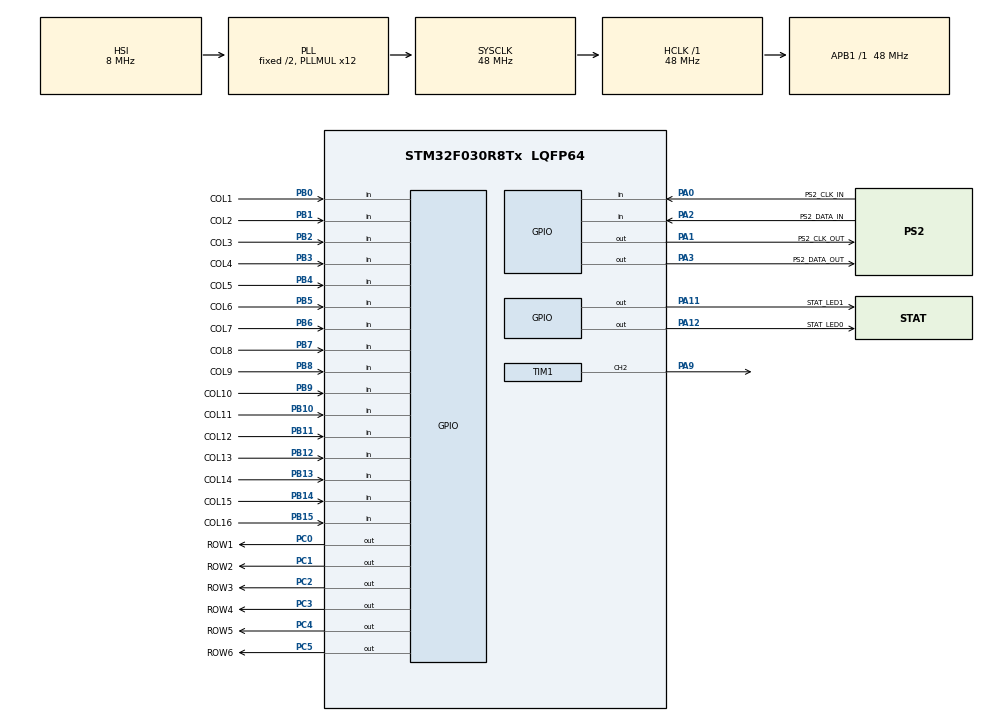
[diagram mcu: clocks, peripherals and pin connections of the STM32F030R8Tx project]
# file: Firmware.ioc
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Dma.Request0=TIM1_CH2
Dma.TIM1_CH2.0.Direction=DMA_MEMORY_TO_PERIPH
Dma.TIM1_CH2.0.Instance=DMA1_Channel3
Dma.TIM1_CH2.0.MemDataAlignment=DMA_MDATAALIGN_WORD
Dma.TIM1_CH2.0.MemInc=DMA_MINC_ENABLE
Dma.TIM1_CH2.0.Mode=DMA_CIRCULAR
Dma.TIM1_CH2.0.PeriphDataAlignment=DMA_PDATAALIGN_WORD
Dma.TIM1_CH2.0.PeriphInc=DMA_PINC_DISABLE
Dma.TIM1_CH2.0.Priority=DMA_PRIORITY_VERY_HIGH
Mcu.Family=STM32F0
Mcu.Name=STM32F030R8Tx
Mcu.Package=LQFP64
NVIC.DMA1_Channel2_3_IRQn=true\:0\:0\:false\:false\:true\:false\:true\:true
NVIC.TIM16_IRQn=true\:0\:0\:false\:false\:true\:true\:true\:true
NVIC.TIM3_IRQn=true\:0\:0\:false\:false\:true\:true\:true\:true
PA0.GPIO_Label=PS2_CLK_IN
PA0.Signal=GPIO_Input
PA1.GPIO_Label=PS2_CLK_OUT
PA1.GPIO_Speed=GPIO_SPEED_FREQ_MEDIUM
PA1.PinState=GPIO_PIN_SET
PA1.Signal=GPIO_Output
PA11.GPIO_Label=STAT_LED1
PA11.PinState=GPIO_PIN_SET
PA11.Signal=GPIO_Output
PA12.GPIO_Label=STAT_LED0
PA12.PinState=GPIO_PIN_SET
PA12.Signal=GPIO_Output
PA2.GPIO_Label=PS2_DATA_IN
PA2.Signal=GPIO_Input
PA3.GPIO_Label=PS2_DATA_OUT
PA3.GPIO_Speed=GPIO_SPEED_FREQ_MEDIUM
PA3.PinState=GPIO_PIN_SET
PA3.Signal=GPIO_Output
PA9.GPIO_PuPd=GPIO_PULLDOWN
PA9.Signal=S_TIM1_CH2
PB0.GPIO_Label=COL1
PB0.GPIO_PuPd=GPIO_PULLUP
PB0.Signal=GPIO_Input
PB1.GPIO_Label=COL2
PB1.GPIO_PuPd=GPIO_PULLUP
PB1.Signal=GPIO_Input
PB10.GPIO_Label=COL11
PB10.GPIO_PuPd=GPIO_PULLUP
PB10.Signal=GPIO_Input
PB11.GPIO_Label=COL12
PB11.GPIO_PuPd=GPIO_PULLUP
PB11.Signal=GPIO_Input
PB12.GPIO_Label=COL13
PB12.GPIO_PuPd=GPIO_PULLUP
PB12.Signal=GPIO_Input
PB13.GPIO_Label=COL14
PB13.GPIO_PuPd=GPIO_PULLUP
PB13.Signal=GPIO_Input
PB14.GPIO_Label=COL15
PB14.GPIO_PuPd=GPIO_PULLUP
PB14.Signal=GPIO_Input
PB15.GPIO_Label=COL16
PB15.GPIO_PuPd=GPIO_PULLUP
PB15.Signal=GPIO_Input
PB2.GPIO_Label=COL3
PB2.GPIO_PuPd=GPIO_PULLUP
PB2.Signal=GPIO_Input
PB3.GPIO_Label=COL4
PB3.GPIO_PuPd=GPIO_PULLUP
PB3.Signal=GPIO_Input
PB4.GPIO_Label=COL5
PB4.GPIO_PuPd=GPIO_PULLUP
PB4.Signal=GPIO_Input
PB5.GPIO_Label=COL6
PB5.GPIO_PuPd=GPIO_PULLUP
PB5.Signal=GPIO_Input
PB6.GPIO_Label=COL7
PB6.GPIO_PuPd=GPIO_PULLUP
PB6.Signal=GPIO_Input
PB7.GPIO_Label=COL8
PB7.GPIO_PuPd=GPIO_PULLUP
PB7.Signal=GPIO_Input
PB8.GPIO_Label=COL9
PB8.GPIO_PuPd=GPIO_PULLUP
PB8.Signal=GPIO_Input
PB9.GPIO_Label=COL10
PB9.GPIO_PuPd=GPIO_PULLUP
PB9.Signal=GPIO_Input
PC0.GPIO_Label=ROW1
PC0.PinState=GPIO_PIN_SET
PC0.Signal=GPIO_Output
PC1.GPIO_Label=ROW2
PC1.PinState=GPIO_PIN_SET
PC1.Signal=GPIO_Output
PC2.GPIO_Label=ROW3
PC2.PinState=GPIO_PIN_SET
PC2.Signal=GPIO_Output
PC3.GPIO_Label=ROW4
PC3.PinState=GPIO_PIN_SET
PC3.Signal=GPIO_Output
PC4.GPIO_Label=ROW5
PC4.PinState=GPIO_PIN_SET
PC4.Signal=GPIO_Output
PC5.GPIO_Label=ROW6
PC5.PinState=GPIO_PIN_SET
PC5.Signal=GPIO_Output
ProjectManager.HeapSize=0x200
ProjectManager.StackSize=0x400
ProjectManager.TargetToolchain=STM32CubeIDE
RCC.AHBFreq_Value=48000000
RCC.APB1Freq_Value=48000000
RCC.APB1TimFreq_Value=48000000
RCC.HCLKFreq_Value=48000000
RCC.PLLMUL=RCC_PLL_MUL12
RCC.SYSCLKFreq_VALUE=48000000
RCC.SYSCLKSource=RCC_SYSCLKSOURCE_PLLCLK
SH.S_TIM1_CH2.0=TIM1_CH2,PWM Generation2 CH2
TIM1.Channel-PWM\ Generation2\ CH2=TIM_CHANNEL_2
TIM1.OCIdleState_2=TIM_OCIDLESTATE_SET
TIM1.OCMode_PWM-PWM\ Generation2\ CH2=TIM_OCMODE_PWM1
TIM1.OCPolarity_2=TIM_OCPOLARITY_HIGH
TIM1.Period=59
TIM16.Period=1000 - 1
TIM16.Prescaler=48 - 1
TIM17.Prescaler=47
TIM3.CounterMode=TIM_COUNTERMODE_CENTERALIGNED3
TIM3.Period=2000 - 1
VP_TIM16_VS_ClockSourceINT.Mode=Enable_Timer
VP_TIM17_VS_ClockSourceINT.Mode=Enable_Timer
VP_TIM1_VS_ClockSourceINT.Mode=Internal
VP_TIM3_VS_ClockSourceINT.Mode=Internal
board=custom

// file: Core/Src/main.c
/* USER CODE BEGIN Header */
/**
  ******************************************************************************
  * @file           : main.c
  * @brief          : Main program body
  ******************************************************************************
  * @attention
  *
  * Copyright (c) 2025 STMicroelectronics.
  * All rights reserved.
  *
  * This software is licensed under terms that can be found in the LICENSE file
  * in the root directory of this software component.
  * If no LICENSE file comes with this software, it is provided AS-IS.
  *
  ******************************************************************************
  */
/* USER CODE END Header */
#include "main.h"

/* USER CODE BEGIN Includes */

#include <stdbool.h>
#include <stdint.h>

#include "ps2dev.h"
#include "ws2812.h"

/* USER CODE END Includes */

/* USER CODE BEGIN PD */

const long led_dim_length_ms = 1500;

//
// PS/2 command and response codes
//

const uint8_t PS2_CMD_SET_LED = 0xed;
const uint8_t PS2_CMD_ECHO = 0xee;
const uint8_t PS2_CMD_SET_SC = 0xf0;
const uint8_t PS2_CMD_IDENT = 0xf2;
const uint8_t PS2_CMD_SET_REPEAT = 0xf3;
const uint8_t PS2_CMD_ENABLE = 0xf4;
const uint8_t PS2_CMD_DISABLE = 0xf5;
const uint8_t PS2_CMD_DEFAULTS = 0xf6;
const uint8_t PS2_CMD_RESEND = 0xfe;
const uint8_t PS2_CMD_RESET = 0xff;

const uint8_t PS2_REPLY_ACK = 0xfa;
const uint8_t PS2_REPLY_RESEND = 0xfe;

/**
 * Bit codes for the various status lights
 * There is no NUMLOCK or SCROLL key on this keyboard, so those bits are ignored.
 */
const uint8_t PS2_STAT_CAPS = 0x04;
const uint8_t PS2_STAT_POWER = 0x10;
const uint8_t PS2_STAT_MEDIA1 = 0x20;
const uint8_t PS2_STAT_MEDIA2 = 0x40;

//
// Keyboard matrix constants
//

#define NUM_KEYS 		128
#define NUM_ROWS 		6
#define NUM_COLUMNS		16

const short HEARTBEAT_PERIOD = 1;	// Number of milliseconds per heart beat
const uint8_t HEARTBEAT_CNT = 100;	// Number of counts of the heart beat before we toggle the LED
const uint8_t DEBOUNCE_CNT = 2;		// Number of times through a loop to verify the switch isn't bouncing

const uint8_t KEY_PRESSED = 0x80;
const uint8_t KEY_NO_MAKE = 0x40;
const uint8_t KEY_NO_BREAK = 0x20;
const uint8_t KEY_NO_REPEAT	= 0x10;

// Marks "no key is repeating" in last_pressed. Matrix position 0 is a real key (ESC),
// and positions never get above 0x5F, so 0xFF can't be confused with a key.
#define NO_KEY			0xFF

const uint8_t KEY_ACK = 0xFA;
const uint8_t KEY_RESEND = 0xFE;

// Mapping of row number to GPIO port
const GPIO_TypeDef * row_port[] = {
		ROW1_GPIO_Port, ROW2_GPIO_Port, ROW3_GPIO_Port, ROW4_GPIO_Port, ROW5_GPIO_Port, ROW6_GPIO_Port
};

// Mapping of row number to GPIO pin
const uint16_t row_pin[] = {
		ROW1_Pin, ROW2_Pin, ROW3_Pin, ROW4_Pin, ROW5_Pin, ROW6_Pin
};

// Mapping of column number to GPIO port
const GPIO_TypeDef * col_port[] = {
		COL1_GPIO_Port, COL2_GPIO_Port, COL3_GPIO_Port, COL4_GPIO_Port,
		COL5_GPIO_Port, COL6_GPIO_Port, COL7_GPIO_Port, COL8_GPIO_Port,
		COL9_GPIO_Port, COL10_GPIO_Port, COL11_GPIO_Port, COL12_GPIO_Port,
		COL13_GPIO_Port, COL14_GPIO_Port, COL15_GPIO_Port, COL16_GPIO_Port
};

// Mapping of column number to GPIO pin
const uint16_t col_pin[] = {
		COL1_Pin, COL2_Pin, COL3_Pin, COL4_Pin,
		COL5_Pin, COL6_Pin, COL7_Pin, COL8_Pin,
		COL9_Pin, COL10_Pin, COL11_Pin, COL12_Pin,
		COL13_Pin, COL14_Pin, COL15_Pin, COL16_Pin
};

// Mapping of matrix position to Foenix scan code

// Scan Code Set 1 -- NOTE: scancode > 0x90 indicates a code requiring an escape (0xf1 => 0xe0 0x71)
const uint8_t scan_code_1[] = {
		// Row 1: ESC, F1 - F8, HELP
		0x01, 0x3B, 0x3C, 0x3D, 0x3E, 0x3F, 0x00, 0x00, 0x40, 0x41, 0x42, 0x00, 0x43, 0x44, 0x00, 0x57,

		// Row 2: "`", 1 - 0, -, =, BS, DEL
		0x29, 0x02, 0x03, 0x04, 0x05, 0x06, 0x07, 0x08, 0x09, 0x0A, 0x0B, 0x0C, 0x0D, 0x2B, 0x0E, 0xd3,

		// Row 3: TAB, Q, W, E, R, T, Y, U, I, O, P, [, ]
		0x0F, 0x10, 0x11, 0x12, 0x13, 0x14, 0x15, 0x16, 0x17, 0x18, 0x19, 0x1A, 0x1B, 0x00, 0x00, 0x00,

		// Row 4: --, CAPS, A, S, D, F, G, H, J, K, L, ;, '
		0x00, 0x3A, 0x1E, 0x1F, 0x20, 0x21, 0x22, 0x23, 0x24, 0x25, 0x26, 0x27, 0x28, 0x29, 0x1C, 0x00,

		// Row 5: SHIFT, Z, X, C, V, B, N, M, ",", ".", "/", SHIFT, UP
		0x2A, 0x5A, 0x2C, 0x2D, 0x2E, 0x2F, 0x30, 0x31, 0x32, 0x33, 0x34, 0x35, 0x36, 0xc8, 0x00, 0x00,

		// Row 6: CTRL, ALT, FN, META, SPACE, ALT, CTRL, "\", LEFT. DOWN, RIGHT
		0x1D, 0x38, 0xdB, 0x00, 0x00, 0x00, 0x39, 0x00, 0x00, 0x00, 0xdc, 0xb8, 0x9d, 0xcb, 0xd0, 0xcd
};

// Scan Code Set 2 -- NOTE: scancode > 0x90 indicates a code requiring an escape (0xf1 => 0xe0 0x71)
const uint8_t scan_code_2[] = {
		// Row 1: ESC, F1 - F8, HELP
		0x76, 0x05, 0x06, 0x04, 0x0c, 0x03, 0x00, 0x00, 0x0b, 0x83, 0x0a, 0x00, 0x01, 0x09, 0x00, 0x78,

		// Row 2: "`", 1 - 0, -, =, \, BS, DEL
		0x0e, 0x16, 0x1e, 0x26, 0x25, 0x2e, 0x36, 0x3d, 0x3e, 0x46, 0x45, 0x4e, 0x55, 0x5d, 0x66, 0xf1,

		// Row 3: TAB, Q, W, E, R, T, Y, U, I, O, P, [, ]
		0x0d, 0x15, 0x1d, 0x24, 0x2d, 0x2c, 0x35, 0x3c, 0x43, 0x44, 0x4d, 0x54, 0x5b, 0x00, 0x00, 0x00,

		// Row 4: --, CAPS, A, S, D, F, G, H, J, K, L, ;, ', blank, return
		0x00, 0x58, 0x1c, 0x1b, 0x23, 0x2b, 0x34, 0x33, 0x3b, 0x42, 0x4b, 0x4c, 0x52, 0x53, 0x5a, 0x00,

		// Row 5: SHIFT, blank, Z, X, C, V, B, N, M, ",", ".", "/", SHIFT, UP
		0x12, 0x13, 0x1a, 0x22, 0x21, 0x2a, 0x32, 0x31, 0x3a, 0x41, 0x49, 0x4a, 0x59, 0xf5, 0x00, 0x00,

		// Row 6: CTRL, ALT, FN, META, SPACE, ALT, CTRL, "\", LEFT. DOWN, RIGHT
		0x14, 0x11, 0x9f, 0x00, 0x00, 0x00, 0x29, 0x00, 0x00, 0x00, 0xa7, 0x91, 0x94, 0xeb, 0xf2, 0xf4
};

/* USER CODE END PD */

TIM_HandleTypeDef htim1;
TIM_HandleTypeDef htim3;
TIM_HandleTypeDef htim16;
TIM_HandleTypeDef htim17;
DMA_HandleTypeDef hdma_tim1_ch2;

/* USER CODE BEGIN PV */

volatile short is_transmitting = 0;		// Flag to indicate if the controller is currently sending a packet
volatile long key_init_delay;			// Counter for the typematic delay on the last pressed key
volatile long key_repeat_delay;			// Counter for the typematic repeat delay
volatile short send_repeat;				// Flag to indicate if the main loop should send the last pressed character

long delay_initial;						// Delay while a key is held down before it starts repeating (in ms)
long delay_repeat;						// Delay between repeats for the held down key (in ms)
uint8_t last_pressed;					// The matrix position of the last (and currently) pressed key, or NO_KEY

uint8_t is_scan_disabled = 0;			// Scanning is disabled if this is TRUE

short current_set = 2;					// Scan code set to use: 1 or 2 (default)

// The status of the keys:
// 0b1xxxxxxx - Pressed
// 0bx1xxxxxx - Don't send a MAKE scan code if pressed
// 0bxx1xxxxx - Don't send a BREAK scan code if released
// 0bxxx1xxxx - Don't repeat the key (typematic) if held
uint8_t p_key_state[NUM_KEYS];

uint8_t led0_state = 0;					// State of LED0 (0 = off, 1 == on)

volatile long millisecond_count = 0;	// updated in the TIM16 interrupt

int	heartbeat_count = 0;				// Count of loops for the heart beat LED

uint8_t modifier_leds = 0;

static short ws2812_intro_state = 2;

/* USER CODE END PV */

void SystemClock_Config(void);
static void MX_GPIO_Init(void);
static void MX_DMA_Init(void);
static void MX_TIM1_Init(void);
static void MX_TIM3_Init(void);
static void MX_TIM17_Init(void);
static void MX_TIM16_Init(void);

/* USER CODE BEGIN 0 */

void HAL_TIM_PeriodElapsedCallback(TIM_HandleTypeDef *htim) {
	if (htim == &htim16) {
		// Increase the millisecond counter
		millisecond_count++;
	}
}

/**
 * Wait for us microseconds
 *
 * @param us the number of microseconds to wait
 */
void delayMicroseconds(uint16_t us) {
	__HAL_TIM_SET_COUNTER(&htim17,0);			// set the counter value a 0
	while (__HAL_TIM_GET_COUNTER(&htim17) < us);	// wait for the counter to reach the us input in the parameter
}

/**
 * Return the number of milliseconds since startup
 */
long millis() {
	return millisecond_count;
}

//
// Watchdog
//
// The independent watchdog (IWDG) resets the MCU if the main loop (or one of the bounded
// waits in the PS/2 and LED code) stops calling watchdog_refresh(). That covers lock-ups
// such as a stalled DMA transfer, a stuck wait loop, Error_Handler() or a fault handler.
//
// The IWDG runs from the ~40 kHz LSI (30-60 kHz over voltage and temperature):
// 40 kHz / 64 = 625 Hz, so a reload of 625 is about 1 s (roughly 0.7 s to 1.3 s).
//
#define WATCHDOG_RELOAD	625

static void watchdog_init(void) {
	// Stop the watchdog counting while the core is halted by the debugger,
	// otherwise every breakpoint would end in a reset
	__HAL_RCC_DBGMCU_CLK_ENABLE();
	__HAL_DBGMCU_FREEZE_IWDG();

	IWDG->KR = 0xCCCC;			// start the watchdog (this also starts the LSI)
	IWDG->KR = 0x5555;			// unlock PR and RLR
	IWDG->PR = IWDG_PR_PR_2;	// prescaler /64
	IWDG->RLR = WATCHDOG_RELOAD;

	// Wait for the new values to be latched (bounded: the watchdog is already running)
	uint32_t start = HAL_GetTick();
	while (IWDG->SR != 0 && (HAL_GetTick() - start) < 50) {
	}

	IWDG->KR = 0xAAAA;			// load the counter
}

void watchdog_refresh(void) {
	IWDG->KR = 0xAAAA;
}

//
// Status LED code
//

/**
 * Set whether a status LED is on or off
 *
 * @param led the number of the status LED (0 or 1)
 */
void stat_led_set(short led, bool is_on) {
	GPIO_TypeDef * gpio_led = (led == 0) ? STAT_LED0_GPIO_Port : STAT_LED1_GPIO_Port;
	uint16_t pin_led = (led == 0) ? STAT_LED0_Pin : STAT_LED1_Pin;

	if (is_on) {
		HAL_GPIO_WritePin(gpio_led, pin_led, GPIO_PIN_RESET);
	} else {
		HAL_GPIO_WritePin(gpio_led, pin_led, GPIO_PIN_SET);
	}
}

//
// PS/2 Command code
//

/**
 * Set the status LEDs in response to the set LED command (0xed)
 *
 * @param status the bitfield for all the status LEDs
 */
void ps2_set_leds(uint8_t status) {
	if ((status & 0x04) == 0x04) {
		ws2812_set_state(LED_CAPS, true);
	} else {
		ws2812_set_state(LED_CAPS, false);
	}

	ws2812_trigger();
}

/**
 * Keyboard matrix code
 */

/**
 * De-assert all the row pins
 */
void clr_rows() {
	for (int i = 0; i < NUM_ROWS; i++) {
		HAL_GPIO_WritePin(((GPIO_TypeDef *)row_port[i]), row_pin[i], GPIO_PIN_RESET);
	}
}

/**
 * Assert or de-assert a row in the key switch matrix
 *
 * @param row the number of the row to assert (0 - 5)
 * @param assert TRUE (non-zero) to assert the pin, FALSE (0) to de-assert it
 */
void set_row(short row, short assert_row) {
	if ((row >= 0) && (row < NUM_ROWS)) {
		if (assert_row) {
			// Assert the row by lowering its pin
			HAL_GPIO_WritePin(((GPIO_TypeDef *)row_port[row]), row_pin[row], GPIO_PIN_SET);

			// Delay a little to allow the row's IR LEDs to turn on and settle
			HAL_Delay(1);
		} else {
			// De-assert the row by raising its pin
			HAL_GPIO_WritePin(((GPIO_TypeDef *)row_port[row]), row_pin[row], GPIO_PIN_RESET);
		}
	}
}

/**
 * Return TRUE if the indicated column is asserted
 *
 * @param column the number of the column to check (0 - 15)
 *
 * @retval TRUE (non-zero) if the column is asserted, FALSE (0) if not
 */
int is_column_asserted(short column) {
	if ((column >= 0) && (column < NUM_COLUMNS)) {
		return (HAL_GPIO_ReadPin(((GPIO_TypeDef *)col_port[column]), col_pin[column]) == GPIO_PIN_SET);
	} else {
		return 0;
	}
}

/**
 * Set the initial delay and delay rate in milliseconds for the key repeat (typematic) function
 *
 * @param delay_ms the initial delay in milliseconds
 * @param rate_ms the repeat rate delay in milliseconds
 */
void kbd_set_typematic(long delay_ms, long rate_ms) {
	delay_initial = delay_ms;
	delay_repeat = rate_ms;
}

/**
 * Send a key scan code to the host
 *
 * @param key_position the index of the key in the p_key_state table
 * @param is_pressed TRUE (non-zero) if the key is pressed (send a MAKE scan code), 0 if not (send a BREAK scan code)
 */
void send_key(short key_position, short is_pressed) {
	// Get the base scan code given the key position and the current scan code set
	uint8_t code = 0;
	switch (ps2_keyboard_get_set()) {
	case 1:
		code = scan_code_1[key_position];
		break;

	case 2:
		code = scan_code_2[key_position];
		break;

	default:
		break;
	}

	// If we got an actual scan code...
	if (code) {
		if (is_pressed) {
			// If it's pressed, send a press scan code or a special press scan code sequence
			// NOTE: special keys (requiring a sequence) are marked by base scan codes > 0x90
			if (code > 0x90) {
				ps2_keyboard_press_special(code & 0x7f);
			} else {
				ps2_keyboard_press(code);
			}

		} else {
			// If it's released, send a release scan code or a special release scan code sequence
			if (code > 0x90) {
				ps2_keyboard_release_special(code & 0x7f);
			} else {
				ps2_keyboard_release(code);
			}
		}
	}
}

/*
 * Process the a key moving into a new state.
 *
 * Check to see if we can send make/break and send accordingly.
 * Check to see if the key can be repeated, and make it the most recent keypress
 *
 * Inputs:
 * key_position: the index of the key in the p_key_state table
 * is_pressed: TRUE (non-zero) if the key is pressed (send a MAKE scan code), 0 if not (send a BREAK scan code)
 */
void process_key(short key_position, short is_pressed) {
	if (is_pressed) {
		if ((p_key_state[key_position] & KEY_NO_MAKE) == 0) {
			// This key can send a MAKE scan code, so queue one
			send_key(key_position, is_pressed);
		}

		if ((p_key_state[key_position] & KEY_NO_REPEAT) == 0) {
			// This key can repeat, so make it the most recent key
			// Set the delay counters as well
			last_pressed = key_position;
			key_repeat_delay = 0;
			key_init_delay = millis() + delay_initial;
			// HAL_TIM_Base_Start_IT(&htim16);

		} else {
			// Otherwise, cancel any repeating character
			key_repeat_delay = 0;
			key_init_delay = 0;
			last_pressed = NO_KEY;
			// HAL_TIM_Base_Stop_IT(&htim16);
		}

	} else {
		// The key has been released

		if ((p_key_state[key_position] & KEY_NO_BREAK) == 0) {
			// This key can send a BREAK scan code, so queue one
			send_key(key_position, is_pressed);
		}

		// Only the most recently pressed key repeats, so releasing any other key
		// must not stop it. Cancel the repeat only if this was the repeating key.
		if (key_position == last_pressed) {
			key_repeat_delay = 0;
			key_init_delay = 0;
			last_pressed = NO_KEY;
			// HAL_TIM_Base_Stop_IT(&htim16);
		}
	}
}

/*
 * Clear the debounce counter for the key
 *
 * Inputs:
 * key_position = the position of the key in the matrix
 *
 */
void key_clear_count(uint8_t key_position) {
	p_key_state[key_position] &= 0xf0;
}

/*
 * Return true if the key has changed but been held in the same position
 * long enough to smooth out switch bouncing
 *
 * Inputs:
 * key_position = the position of the key in the matrix
 *
 * Returns:
 * 0 if the key has changed recently, 1 if the key state has been the same long enough
 */
short key_stable(uint8_t key_position) {
//	short count = p_key_state[key_position] & 0x0f;
//	if (count > DEBOUNCE_CNT) {
//		key_clear_count(key_position);
//		return 1;
//	} else {
//		p_key_state[key_position] = (p_key_state[key_position] & 0xf0) | ((count + 1) & 0x0f);
//		return 0;
//	}
	return true;
}

bool is_key_present(uint8_t key_position) {
	return (scan_code_1[key_position] != 0);
}

/*
 * Do the work needed for each loop of the micro controller...
 *
 * Check the matrix for key presses
 * Check for interrupts and process requests from the host
 * Handle timers for typematic
 */
void kbd_process() {
	if (!is_scan_disabled) {
		// First... scan the matrix and process any change in keys
		for (short row = 0; row < NUM_ROWS; row++) {
			set_row(row, 1);

			for (short column = 0; column < NUM_COLUMNS; column++) {
				uint8_t key_position = ((row & 0x07) << 4) | (column & 0x0f);
				if (is_key_present(key_position)) {
					if (is_column_asserted(column)) {
						if ((p_key_state[key_position] & KEY_PRESSED) == 0) {
							if (key_stable(key_position)) {
								p_key_state[key_position] |= KEY_PRESSED;
								process_key(key_position, 1);
							}
						} else {
							key_clear_count(key_position);
						}
					} else {
						if ((p_key_state[key_position] & KEY_PRESSED) != 0) {
							if (key_stable(key_position)) {
								p_key_state[key_position] &= ~KEY_PRESSED;
								process_key(key_position, 0);
							}
						} else {
							key_clear_count(key_position);
						}
					}
				}
			}

			set_row(row, 0);
		}

		// Next... check to see if we need to repeat the last key pressed
		if (send_repeat) {
			if (last_pressed != NO_KEY) {
				// Send the key and reset the timers for another repeat
				send_key(last_pressed, 1);
				key_repeat_delay = millis() + delay_repeat;
				key_init_delay = 0;
				send_repeat = 0;

			} else {
				// For some reason, we had a repeat flagged, but nothing to send
				// Just clear all the typematic variables
				key_repeat_delay = 0;
				key_init_delay = 0;
				send_repeat = 0;
			}
		}
	}
}

/**
 * Set whether or not keyboard scanning is enabled
 *
 * @param enable true if the keyboard scanning should be enabled, false otherwise
 */
void kbd_set_enable(bool enable) {
	is_scan_disabled = !enable;
}

/**
 * Set the keyboard to its initial state
 */
void kbd_init() {
	// rb_init(&ps2_output);		// Initialize the byte FIFO going to the host computer

	clr_rows();

	for (short key = 0; key < NUM_KEYS; key++) {
		// Not pressed, will repeat, and will send both make and break scan codes
		p_key_state[key] = 0;
	}

	is_transmitting = 0;		// We're not transmitting anything yet

	last_pressed = NO_KEY;		// There isn't a currently held key
	key_init_delay = 0;			// We're not waiting for the initial delay
	key_repeat_delay = 0;		// We're not repeating
	send_repeat = 0;			// We don't need to send a repeat
	delay_initial = 1000;		// Default wait: 1000 ms
	delay_repeat = 100;			// Default repeat rate: 10 cps (100 ms between repeats)

	is_scan_disabled = 0;		// Enable scanning

	/* Turn off the two status LEDs */
	stat_led_set(0, false);
	stat_led_set(1, false);
}

/**
 * Count iterations through the main loop... toggle LED0 after a certain number of times
 */
void heart_beat() {
	if (++heartbeat_count > HEARTBEAT_CNT) {
		heartbeat_count = 0;
		if (led0_state == 0) {
			led0_state = 1;
			stat_led_set(1, true);
		} else {
			led0_state = 0;
			stat_led_set(1, false);
		}
	}
}

/* USER CODE END 0 */

int main(void)
{

  /* USER CODE BEGIN 1 */

	uint8_t old_modifier_leds;

  /* USER CODE END 1 */

  /* MCU Configuration--------------------------------------------------------*/

  /* Reset of all peripherals, Initializes the Flash interface and the Systick. */
  HAL_Init();

  /* USER CODE BEGIN Init */

  millisecond_count = 0;

  /* USER CODE END Init */

  /* Configure the system clock */
  SystemClock_Config();

  /* Initialize all configured peripherals */
  MX_GPIO_Init();
  MX_DMA_Init();
  MX_TIM1_Init();
  MX_TIM3_Init();
  MX_TIM17_Init();
  MX_TIM16_Init();
  /* USER CODE BEGIN 2 */

  kbd_init();
  ws2812_init();

  HAL_TIM_Base_Start_IT(&htim3);
  HAL_TIM_Base_Start_IT(&htim16);	// millisecond tick for millis() counter
  HAL_TIM_Base_Start(&htim17);		// microsecond timer

  ps2_init(GPIOA, PS2_CLK_IN_Pin, PS2_DATA_IN_Pin, GPIOA, PS2_CLK_OUT_Pin, PS2_DATA_OUT_Pin);
  ps2_keyboard_init();

  // Everything is initialized: from here on the main loop must keep the watchdog fed
  watchdog_init();

  /* USER CODE END 2 */

  /* Infinite loop */
  while (1)
  {

    /* USER CODE BEGIN 3 */

	  watchdog_refresh();

	  HAL_Delay(HEARTBEAT_PERIOD);

	  // Adjust the counters for the typematic system
	  if (key_init_delay > 0) {
		  // If initial delay has not been reached, count it down...
		  if (key_init_delay < millis()) {
			  // We have reached zero or less... lock it to zero and trigger a repeat
			  key_init_delay = 0;
			  send_repeat = true;
		  }
	  } else if (key_repeat_delay > 0) {
		  // If repeat delay has not been reached, count it down...
		  if (key_repeat_delay < millis()) {
			  // We have reached zero or less... lock it to zero and trigger a repeat
			  key_repeat_delay = 0;
			  send_repeat = true;
		  }
	  }

	  // Check for commands from the host...
	  old_modifier_leds = modifier_leds;
	  ps2_keyboard_handle(&modifier_leds);

	  // Check for changes to key presses in the key matrix
	  // Issue messages to the host for any changes
	  kbd_process();

	  switch (ws2812_intro_state) {
	  case 2:
		  if (millis() < led_dim_length_ms) {
			  ws2812_dim(millis(), led_dim_length_ms);
	  	  } else {
	  		ws2812_intro_state = 1;
	  	  }
		  ws2812_trigger();
		  break;

	  case 1:
		  for (short i = 1; i < 12; i++) {
			  ws2812_set_state(i, false);
		  }
		  // The intro leaves the CAPS LED lit and then the loop above turns it off. Show what
		  // the host last asked for instead: a set-LEDs command can arrive while the intro is
		  // running (e.g. from the BIOS at power-on), and would otherwise be lost.
		  ps2_set_leds(modifier_leds);
		  ws2812_intro_state = 0;
		  ws2812_trigger();
		  break;

	  default:
		  if (modifier_leds != old_modifier_leds) {
			  // If the command was issued to change the LEDs, update the RGB leds
			  ps2_set_leds(modifier_leds);
		  }
		  break;
	  }

	  // Flash the status LEDs to indicate that this main loop is still running
	  heart_beat();

	  // Send the changes to the RGB LEDs out to the WS2812s
	  ws2812_update();
  }
  /* USER CODE END 3 */
}

void SystemClock_Config(void)
{
  RCC_OscInitTypeDef RCC_OscInitStruct = {0};
  RCC_ClkInitTypeDef RCC_ClkInitStruct = {0};

  /** Initializes the RCC Oscillators according to the specified parameters
  * in the RCC_OscInitTypeDef structure.
  */
  RCC_OscInitStruct.OscillatorType = RCC_OSCILLATORTYPE_HSI;
  RCC_OscInitStruct.HSIState = RCC_HSI_ON;
  RCC_OscInitStruct.HSICalibrationValue = RCC_HSICALIBRATION_DEFAULT;
  RCC_OscInitStruct.PLL.PLLState = RCC_PLL_ON;
  RCC_OscInitStruct.PLL.PLLSource = RCC_PLLSOURCE_HSI;
  RCC_OscInitStruct.PLL.PLLMUL = RCC_PLL_MUL12;
  RCC_OscInitStruct.PLL.PREDIV = RCC_PREDIV_DIV1;
  if (HAL_RCC_OscConfig(&RCC_OscInitStruct) != HAL_OK)
  {
    Error_Handler();
  }

  /** Initializes the CPU, AHB and APB buses clocks
  */
  RCC_ClkInitStruct.ClockType = RCC_CLOCKTYPE_HCLK|RCC_CLOCKTYPE_SYSCLK
                              |RCC_CLOCKTYPE_PCLK1;
  RCC_ClkInitStruct.SYSCLKSource = RCC_SYSCLKSOURCE_PLLCLK;
  RCC_ClkInitStruct.AHBCLKDivider = RCC_SYSCLK_DIV1;
  RCC_ClkInitStruct.APB1CLKDivider = RCC_HCLK_DIV1;

  if (HAL_RCC_ClockConfig(&RCC_ClkInitStruct, FLASH_LATENCY_1) != HAL_OK)
  {
    Error_Handler();
  }
}

static void MX_TIM1_Init(void)
{

  TIM_ClockConfigTypeDef sClockSourceConfig = {0};
  TIM_MasterConfigTypeDef sMasterConfig = {0};
  TIM_OC_InitTypeDef sConfigOC = {0};
  TIM_BreakDeadTimeConfigTypeDef sBreakDeadTimeConfig = {0};

  htim1.Instance = TIM1;
  htim1.Init.Prescaler = 0;
  htim1.Init.CounterMode = TIM_COUNTERMODE_UP;
  htim1.Init.Period = 59;
  htim1.Init.ClockDivision = TIM_CLOCKDIVISION_DIV1;
  htim1.Init.RepetitionCounter = 0;
  htim1.Init.AutoReloadPreload = TIM_AUTORELOAD_PRELOAD_DISABLE;
  if (HAL_TIM_Base_Init(&htim1) != HAL_OK)
  {
    Error_Handler();
  }
  sClockSourceConfig.ClockSource = TIM_CLOCKSOURCE_INTERNAL;
  if (HAL_TIM_ConfigClockSource(&htim1, &sClockSourceConfig) != HAL_OK)
  {
    Error_Handler();
  }
  if (HAL_TIM_PWM_Init(&htim1) != HAL_OK)
  {
    Error_Handler();
  }
  sMasterConfig.MasterOutputTrigger = TIM_TRGO_RESET;
  sMasterConfig.MasterSlaveMode = TIM_MASTERSLAVEMODE_DISABLE;
  if (HAL_TIMEx_MasterConfigSynchronization(&htim1, &sMasterConfig) != HAL_OK)
  {
    Error_Handler();
  }
  sConfigOC.OCMode = TIM_OCMODE_PWM1;
  sConfigOC.Pulse = 0;
  sConfigOC.OCPolarity = TIM_OCPOLARITY_HIGH;
  sConfigOC.OCNPolarity = TIM_OCNPOLARITY_HIGH;
  sConfigOC.OCFastMode = TIM_OCFAST_DISABLE;
  sConfigOC.OCIdleState = TIM_OCIDLESTATE_SET;
  sConfigOC.OCNIdleState = TIM_OCNIDLESTATE_RESET;
  if (HAL_TIM_PWM_ConfigChannel(&htim1, &sConfigOC, TIM_CHANNEL_2) != HAL_OK)
  {
    Error_Handler();
  }
  sBreakDeadTimeConfig.OffStateRunMode = TIM_OSSR_DISABLE;
  sBreakDeadTimeConfig.OffStateIDLEMode = TIM_OSSI_DISABLE;
  sBreakDeadTimeConfig.LockLevel = TIM_LOCKLEVEL_OFF;
  sBreakDeadTimeConfig.DeadTime = 0;
  sBreakDeadTimeConfig.BreakState = TIM_BREAK_DISABLE;
  sBreakDeadTimeConfig.BreakPolarity = TIM_BREAKPOLARITY_HIGH;
  sBreakDeadTimeConfig.AutomaticOutput = TIM_AUTOMATICOUTPUT_DISABLE;
  if (HAL_TIMEx_ConfigBreakDeadTime(&htim1, &sBreakDeadTimeConfig) != HAL_OK)
  {
    Error_Handler();
  }
  HAL_TIM_MspPostInit(&htim1);

}

static void MX_TIM3_Init(void)
{

  TIM_ClockConfigTypeDef sClockSourceConfig = {0};
  TIM_MasterConfigTypeDef sMasterConfig = {0};

  htim3.Instance = TIM3;
  htim3.Init.Prescaler = 0;
  htim3.Init.CounterMode = TIM_COUNTERMODE_CENTERALIGNED3;
  htim3.Init.Period = 2000 - 1;
  htim3.Init.ClockDivision = TIM_CLOCKDIVISION_DIV1;
  htim3.Init.AutoReloadPreload = TIM_AUTORELOAD_PRELOAD_DISABLE;
  if (HAL_TIM_Base_Init(&htim3) != HAL_OK)
  {
    Error_Handler();
  }
  sClockSourceConfig.ClockSource = TIM_CLOCKSOURCE_INTERNAL;
  if (HAL_TIM_ConfigClockSource(&htim3, &sClockSourceConfig) != HAL_OK)
  {
    Error_Handler();
  }
  sMasterConfig.MasterOutputTrigger = TIM_TRGO_RESET;
  sMasterConfig.MasterSlaveMode = TIM_MASTERSLAVEMODE_DISABLE;
  if (HAL_TIMEx_MasterConfigSynchronization(&htim3, &sMasterConfig) != HAL_OK)
  {
    Error_Handler();
  }

}

static void MX_TIM16_Init(void)
{

  htim16.Instance = TIM16;
  htim16.Init.Prescaler = 48 - 1;
  htim16.Init.CounterMode = TIM_COUNTERMODE_UP;
  htim16.Init.Period = 1000 - 1;
  htim16.Init.ClockDivision = TIM_CLOCKDIVISION_DIV1;
  htim16.Init.RepetitionCounter = 0;
  htim16.Init.AutoReloadPreload = TIM_AUTORELOAD_PRELOAD_DISABLE;
  if (HAL_TIM_Base_Init(&htim16) != HAL_OK)
  {
    Error_Handler();
  }

}

static void MX_TIM17_Init(void)
{

  htim17.Instance = TIM17;
  htim17.Init.Prescaler = 47;
  htim17.Init.CounterMode = TIM_COUNTERMODE_UP;
  htim17.Init.Period = 65535;
  htim17.Init.ClockDivision = TIM_CLOCKDIVISION_DIV1;
  htim17.Init.RepetitionCounter = 0;
  htim17.Init.AutoReloadPreload = TIM_AUTORELOAD_PRELOAD_DISABLE;
  if (HAL_TIM_Base_Init(&htim17) != HAL_OK)
  {
    Error_Handler();
  }

}

static void MX_DMA_Init(void)
{

  /* DMA controller clock enable */
  __HAL_RCC_DMA1_CLK_ENABLE();

  /* DMA interrupt init */
  /* DMA1_Channel2_3_IRQn interrupt configuration */
  HAL_NVIC_SetPriority(DMA1_Channel2_3_IRQn, 0, 0);
  HAL_NVIC_EnableIRQ(DMA1_Channel2_3_IRQn);

}

static void MX_GPIO_Init(void)
{
  GPIO_InitTypeDef GPIO_InitStruct = {0};

  /* GPIO Ports Clock Enable */
  __HAL_RCC_GPIOC_CLK_ENABLE();
  __HAL_RCC_GPIOA_CLK_ENABLE();
  __HAL_RCC_GPIOB_CLK_ENABLE();

  /*Configure GPIO pin Output Level */
  HAL_GPIO_WritePin(GPIOC, ROW1_Pin|ROW2_Pin|ROW3_Pin|ROW4_Pin
                          |ROW5_Pin|ROW6_Pin, GPIO_PIN_SET);

  /*Configure GPIO pin Output Level */
  HAL_GPIO_WritePin(GPIOA, PS2_CLK_OUT_Pin|PS2_DATA_OUT_Pin|STAT_LED1_Pin|STAT_LED0_Pin, GPIO_PIN_SET);

  /*Configure GPIO pins : ROW1_Pin ROW2_Pin ROW3_Pin ROW4_Pin
                           ROW5_Pin ROW6_Pin */
  GPIO_InitStruct.Pin = ROW1_Pin|ROW2_Pin|ROW3_Pin|ROW4_Pin
                          |ROW5_Pin|ROW6_Pin;
  GPIO_InitStruct.Mode = GPIO_MODE_OUTPUT_PP;
  GPIO_InitStruct.Pull = GPIO_NOPULL;
  GPIO_InitStruct.Speed = GPIO_SPEED_FREQ_LOW;
  HAL_GPIO_Init(GPIOC, &GPIO_InitStruct);

  /*Configure GPIO pins : PS2_CLK_IN_Pin PS2_DATA_IN_Pin */
  GPIO_InitStruct.Pin = PS2_CLK_IN_Pin|PS2_DATA_IN_Pin;
  GPIO_InitStruct.Mode = GPIO_MODE_INPUT;
  GPIO_InitStruct.Pull = GPIO_NOPULL;
  HAL_GPIO_Init(GPIOA, &GPIO_InitStruct);

  /*Configure GPIO pins : PS2_CLK_OUT_Pin PS2_DATA_OUT_Pin */
  GPIO_InitStruct.Pin = PS2_CLK_OUT_Pin|PS2_DATA_OUT_Pin;
  GPIO_InitStruct.Mode = GPIO_MODE_OUTPUT_PP;
  GPIO_InitStruct.Pull = GPIO_NOPULL;
  GPIO_InitStruct.Speed = GPIO_SPEED_FREQ_MEDIUM;
  HAL_GPIO_Init(GPIOA, &GPIO_InitStruct);

  /*Configure GPIO pins : COL1_Pin COL2_Pin COL3_Pin COL11_Pin
                           COL12_Pin COL13_Pin COL14_Pin COL15_Pin
                           COL16_Pin COL4_Pin COL5_Pin COL6_Pin
                           COL7_Pin COL8_Pin COL9_Pin COL10_Pin */
  GPIO_InitStruct.Pin = COL1_Pin|COL2_Pin|COL3_Pin|COL11_Pin
                          |COL12_Pin|COL13_Pin|COL14_Pin|COL15_Pin
                          |COL16_Pin|COL4_Pin|COL5_Pin|COL6_Pin
                          |COL7_Pin|COL8_Pin|COL9_Pin|COL10_Pin;
  GPIO_InitStruct.Mode = GPIO_MODE_INPUT;
  GPIO_InitStruct.Pull = GPIO_PULLUP;
  HAL_GPIO_Init(GPIOB, &GPIO_InitStruct);

  /*Configure GPIO pins : STAT_LED1_Pin STAT_LED0_Pin */
  GPIO_InitStruct.Pin = STAT_LED1_Pin|STAT_LED0_Pin;
  GPIO_InitStruct.Mode = GPIO_MODE_OUTPUT_PP;
  GPIO_InitStruct.Pull = GPIO_NOPULL;
  GPIO_InitStruct.Speed = GPIO_SPEED_FREQ_LOW;
  HAL_GPIO_Init(GPIOA, &GPIO_InitStruct);

}

void Error_Handler(void)
{
  /* USER CODE BEGIN Error_Handler_Debug */
  /* User can add his own implementation to report the HAL error return state */
  // Interrupts are off and the watchdog is no longer refreshed, so once the
  // watchdog is running it resets the MCU instead of leaving the keyboard dead.
  __disable_irq();
  while (1)
  {
  }
  /* USER CODE END Error_Handler_Debug */
}
